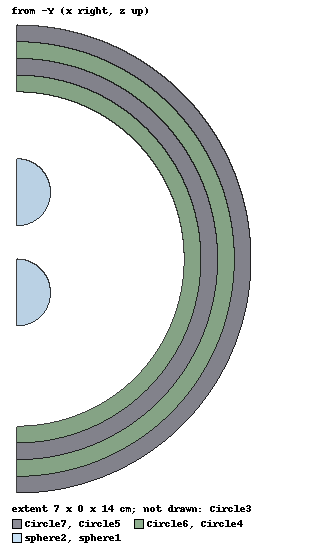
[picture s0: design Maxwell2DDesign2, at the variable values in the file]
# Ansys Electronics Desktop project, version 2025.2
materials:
  vacuum: permittivity=1
  Ext1: permittivity=1.5363 permeability=0.801713
  Ext2: permittivity=0.2472 permeability=2.88849
  Ext3: permittivity=14.892 permeability=0.163862
  Ext4: permittivity=0.0872062 permeability=37.8756
  steel_1010: permittivity=1 permeability{HUnit=A_per_meter BUnit=tesla curve (0, 0) (238.7, 0.2003) (318.3, 0.3204) (358.1, 0.40045) (437.7, 0.50055) (477.5, 0.5606) (636.6, 0.7908) (795.8, 0.931) (1114.1, 1.1014) (1273.2, 1.2016) (1591.5, 1.302) (2228.2, 1.4028) (3183.1, 1.524) (4774.6, 1.626) (6366.2, 1.698) (7957.7, 1.73) (15915.5, 1.87) (31831, 1.99) (47746.5, 2.04) (63662, 2.07) (79577.5, 2.095) (159155, 2.2) (318310, 2.4)} conductivity=2000000 lande_g_factor=2
  perfect conductor: conductivity=1e+30
  Sphere: permittivity=1 permeability=1

design Maxwell2DDesign2 (Maxwell 2D, Electrostatic, about Z geometry, model units cm)
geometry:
  sphere1 [vacuum] = circle(normal=Y, centre=(0cm, 0cm, 2cm), radius=1cm)
  sphere2 [vacuum] = circle(normal=Y, centre=(0cm, 0cm, -1cm), radius=1cm)
  Circle3 [vacuum] = circle(normal=Y, centre=(0cm, 0cm, 0cm), radius=5cm)
  Circle4 [Ext1] = circle(normal=Y, centre=(0cm, 0cm, 0cm), radius=5.5cm)
  Circle5 [Ext2] = circle(normal=Y, centre=(0cm, 0cm, 0cm), radius=6cm)
  Circle6 [Ext3] = circle(normal=Y, centre=(0cm, 0cm, 0cm), radius=6.5cm)
  Circle7 [Ext4] = circle(normal=Y, centre=(0cm, 0cm, 0cm), radius=7cm)
  Circle6_1 = Circle6.copy()
  Circle7.subtract(Circle6_1)
  Circle5_1 = Circle5.copy()
  Circle6.subtract(Circle5_1)
  Circle4_1 = Circle4.copy()
  Circle5.subtract(Circle4_1)
  Circle3_1 = Circle3.copy()
  Circle4.subtract(Circle3_1)
  Circle1_1 = sphere1.copy()
  Circle2_1 = sphere2.copy()
  Circle3.subtract(Circle1_1, Circle2_1)
  [Circle7, Circle6, Circle5, Circle4, Circle3, sphere1, sphere2].split(plane=YZ, keep=PositiveOnly)
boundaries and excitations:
  Voltage1: Voltage Edges=sphere1.edge(at (1, 0, 2)) Value=100V
  Voltage2: Voltage Edges=sphere2.edge(at (1, 0, -1)) Value=-100V
  VoltageInf: Voltage Edges=Circle7.edge(at (7, 0, 0)) Value=0V
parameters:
  Force1: Force Reference_CS=Global Objects=sphere1
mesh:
  initial mesh: GlobalSurfApproximation{CurvedSurfaceApproxChoice=UseSlider SliderMeshSettings=9}
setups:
  Setup1: Electrostatic MaximumPasses=15 MinimumPasses=2 MinimumConvergedPasses=1 PercentRefinement=30 PercentError=2e-05 NonLinearResidual=0.001
